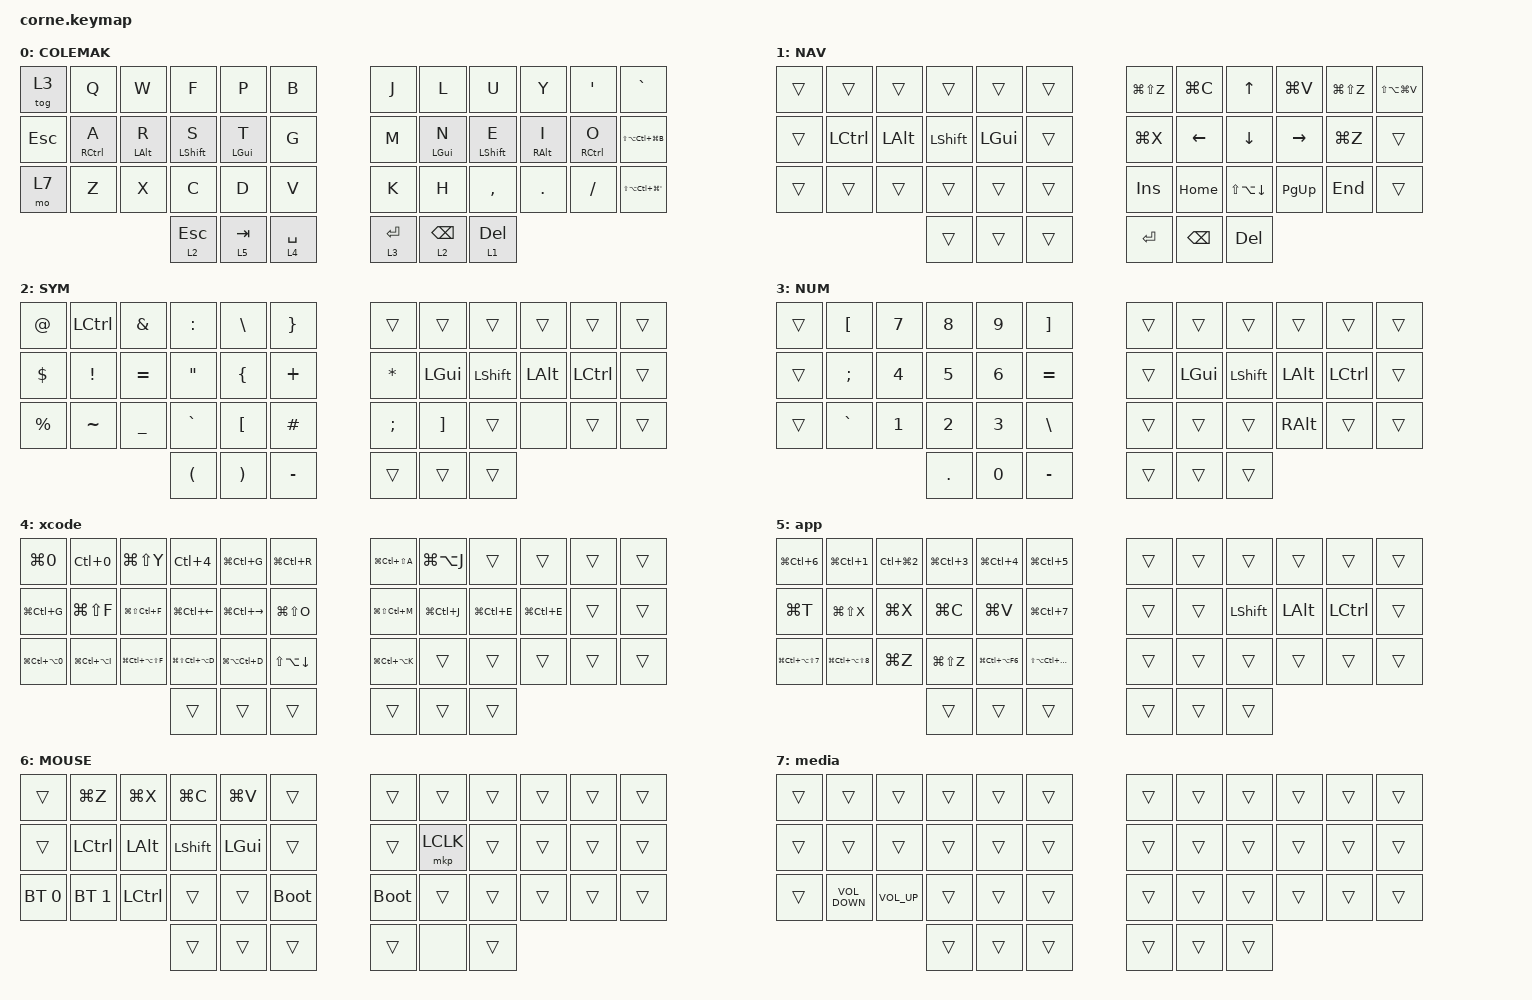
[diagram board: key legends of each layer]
/*
 * Copyright (c) 2020 The ZMK Contributors
 *
 * SPDX-License-Identifier: MIT
 */

#include <behaviors.dtsi>
#include <dt-bindings/zmk/bt.h>
#include <dt-bindings/zmk/keys.h>
#include <dt-bindings/zmk/mouse.h>

#define COLEMAK 0
#define NAV 1
#define SYM 2
#define MOUSE 3
#define NUM 4
#define QWERTY 5

&mt {
    tapping-term-ms = <200>;
    quick_tap_ms = <0>;
    flavor = "tap-preferred";
};

&lt {
    tapping-term-ms = <200>;
    quick_tap_ms = <0>;
    flavor = "tap-preferred";
};

/ {
    combos {
        compatible = "zmk,combos";

        vac {
            bindings = <&kp BACKSPACE>;
            key-positions = <3 4>;
            layers = <0>;
        };

        enter {
            bindings = <&kp ENTER>;
            key-positions = <14 15 16>;
            layers = <0>;
        };

        mouse_layer {
            bindings = <&mo 6>;
            key-positions = <38 39>;
        };

        fullscreen {
            bindings = <&kp LG(LA(LC(LS(SPACE))))>;
            key-positions = <25 24>;
            layers = <5>;
        };

        switchapp {
            bindings = <&kp LG(GRAVE)>;
            key-positions = <15 16>;
            layers = <5>;
        };

        shift {
            bindings = <&kp LEFT_SHIFT>;
            key-positions = <37 40>;
            layers = <0>;
        };
    };

    keymap {
        compatible = "zmk,keymap";

        colemak_dh {
            label = "COLEMAK";

            // -----------------------------------------------------------------------------------------------------------------------------
            // |        |   Q    |   W    |     E     |     R     |     T     | # |     Y     |     U    |    I    |    O   |   P    |     |
            // | LAYERS | A/LGUI | S/LALT |  D/LCTRL  |  F/LSHFT  |     G     | # |     H     | J/LSHFT  | K/LCTRR | L/LALT | ;/LGUI |     |
            // |        |   Z    | X/RALT |     C     |     V     |     B     | # |     N     |     M    |    ,    | ./RALT |   /    |     |
            //                            | ESC/MEDIA | SPACE/NAV | TAB/MOUSE | # | ENTER/SYM | BSPC/NUM | DEL/FN  |

            bindings = <
&tog 3      &kp Q                &kp W       &kp F         &kp P       &kp B          &kp J        &kp L       &kp U         &kp Y       &kp SQT              &kp GRAVE
&kp ESCAPE  &mt RIGHT_CONTROL A  &mt LALT R  &mt LSHIFT S  &mt LGUI T  &kp G          &kp M        &mt LGUI N  &mt LSHIFT E  &mt RALT I  &mt RIGHT_CONTROL O  &kp LS(LA(LC(LG(B))))
&mo 7       &kp Z                &kp X       &kp C         &kp D       &kp V          &kp K        &kp H       &kp COMMA     &kp DOT     &kp FSLH             &kp LS(LA(LC(LG(SQT))))
                                             &lt 2 ESC     &lt 5 TAB   &lt 4 SPACE    &lt 3 ENTER  &lt 2 BSPC  &lt 1 DEL
            >;
        };

        navigation {
            label = "NAV";

            // -------------------------------------------------------------------------------------------
            // |     |      |      |       |       |     | # | REDO  | CUT  | COPY | PASTE | UNDO  |     |
            // |     | LGUI | LALT | LCTRL | LSHFT |     | # | CAPS  | LEFT | DOWN | UP    | RIGHT |     |
            // |     |      | RALT |       |       |     | # | INS   | HOME | PGDN | PGUP  | END   |     |
            //                     |       | HELD  |     | # | ENTER | BSPC | DEL  |

            bindings = <
&trans  &trans            &trans        &trans      &trans    &trans    &kp LG(LS(Z))  &kp LG(C)  &kp UP            &kp LG(V)  &kp LG(LS(Z))  &kp LS(LA(LG(V)))
&trans  &kp LEFT_CONTROL  &kp LEFT_ALT  &kp LSHIFT  &kp LGUI  &trans    &kp LG(X)      &kp LEFT   &kp DOWN          &kp RIGHT  &kp LG(Z)      &trans
&trans  &trans            &trans        &trans      &trans    &trans    &kp INS        &kp HOME   &kp LS(LA(DOWN))  &kp PG_UP  &kp END        &trans
                                        &trans      &trans    &trans    &kp ENTER      &kp BSPC   &kp DEL
            >;
        };

        symbols {
            label = "SYM";

            // ------------------------------------------------------------------------------------
            // |     |  {  |  &  |  *  |  (  |  }  | # |      |       |       |      |      |     |
            // |     |  :  |  $  |  %  |  ^  |  +  | # |      | LSHFT | LCTRL | LALT | LGUI |     |
            // |     |  ~  |  !  |  @  |  #  |  |  | # |      |       |       | RALT |      |     |
            //                   |  (  |  )  |  _  | # | HELD |       |       |

            bindings = <
&kp AT_SIGN  &kp LCTRL        &kp AMPS        &kp COLON          &kp BACKSLASH     &kp RBRC     &trans         &trans             &trans      &trans        &trans            &trans
&kp DOLLAR   &kp EXCLAMATION  &kp EQUAL       &kp DOUBLE_QUOTES  &kp LEFT_BRACE    &kp PLUS     &kp ASTERISK   &kp LGUI           &kp LSHIFT  &kp LEFT_ALT  &kp LEFT_CONTROL  &trans
&kp PERCENT  &kp TILDE        &kp UNDERSCORE  &kp GRAVE          &kp LEFT_BRACKET  &kp HASH     &kp SEMICOLON  &kp RIGHT_BRACKET  &trans      &none         &trans            &trans
                                              &kp LPAR           &kp RPAR          &kp MINUS    &trans         &trans             &trans
            >;
        };

        numbers {
            label = "NUM";

            // -----------------------------------------------------------------------------------
            // |     |  [  |  7  |  8  |  9  |  ]  | # |     |       |       |      |      |     |
            // |     |  ;  |  4  |  5  |  6  |  =  | # |     | LSHFT | LCTRL | LALT | LGUI |     |
            // |     |  `  |  1  |  2  |  3  |  \  | # |     |       |       | RALT |      |     |
            //                   |  .  |  0  |  -  | # |     | HELD  |       |

            bindings = <
&trans  &kp LBKT       &kp N7  &kp N8   &kp N9  &kp RBKT     &trans  &trans    &trans     &trans        &trans            &trans
&trans  &kp SEMICOLON  &kp N4  &kp N5   &kp N6  &kp EQUAL    &trans  &kp LGUI  &kp LSHFT  &kp LEFT_ALT  &kp LEFT_CONTROL  &trans
&trans  &kp GRAVE      &kp N1  &kp N2   &kp N3  &kp BSLH     &trans  &trans    &trans     &kp RALT      &trans            &trans
                               &kp DOT  &kp N0  &kp MINUS    &trans  &trans    &trans
            >;
        };

        xcode {
            label = "xcode";
            bindings = <
&kp LG(N0)          &kp LC(N0)         &kp LG(LS(Y))          &kp LC(NUMBER_4)       &kp LG(LC(G))      &kp LG(LC(R))       &kp LG(LC(LS(A)))  &kp LG(LA(J))  &trans         &trans         &trans  &trans
&kp LG(LC(G))       &kp LG(LS(F))      &kp LG(LS(LC(F)))      &kp LG(LC(LEFT))       &kp LG(LC(RIGHT))  &kp LG(LS(O))       &kp LG(LS(LC(M)))  &kp LG(LC(J))  &kp LG(LC(E))  &kp LG(LC(E))  &trans  &trans
&kp LG(LC(LA(N0)))  &kp LG(LC(LA(I)))  &kp LG(LC(LA(LS(F))))  &kp LG(LS(LC(LA(D))))  &kp LG(LA(LC(D)))  &kp LS(LA(DOWN))    &kp LG(LC(LA(K)))  &trans         &trans         &trans         &trans  &trans
                                                              &trans                 &trans             &trans              &trans             &trans         &trans
            >;
        };

        app {
            bindings = <
&kp LG(LC(NUMBER_6))          &kp LG(LC(NUMBER_1))    &kp LC(LG(NUMBER_2))  &kp LG(LC(NUMBER_3))  &kp LG(LC(NUMBER_4))  &kp LG(LC(N5))            &trans  &trans  &trans          &trans    &trans            &trans
&kp LG(T)                     &kp LG(LS(X))           &kp LG(X)             &kp LG(C)             &kp LG(V)             &kp LG(LC(N7))            &trans  &trans  &kp LEFT_SHIFT  &kp LALT  &kp LEFT_CONTROL  &trans
&kp LG(LC(LA(LS(NUMBER_7))))  &kp LG(LC(LA(LS(N8))))  &kp LG(Z)             &kp LG(LS(Z))         &kp LG(LC(LA(F6)))    &kp LS(LA(LC(LG(F6))))    &trans  &trans  &trans          &trans    &trans            &trans
                                                                            &trans                &trans                &trans                    &trans  &trans  &trans
            >;

            label = "app";
        };

        mouse {
            label = "MOUSE";

            // ------------------------------------------------------------------------------------
            // |     |      |      |       |       |      | # |     |     |     |     |     |     |
            // |     | LGUI | LALT | LCTRL | LSHFT |      | # |     |     |     |     |     |     |
            // |     |      | RALT |       |       |      | # |     |     |     |     |     |     |
            //                     |       |       | HELD | # |     |     |     |

            bindings = <
&trans        &kp LG(Z)         &kp LG(X)     &kp LG(C)  &kp LG(V)  &trans         &trans       &trans     &trans  &trans  &trans  &trans
&trans        &kp LEFT_CONTROL  &kp LEFT_ALT  &kp LSHFT  &kp LGUI   &trans         &trans       &mkp LCLK  &trans  &trans  &trans  &trans
&bt BT_SEL 0  &bt BT_SEL 1      &kp LCTRL     &trans     &trans     &bootloader    &bootloader  &trans     &trans  &trans  &trans  &trans
                                              &trans     &trans     &trans         &trans       &none      &trans
            >;
        };

        media {
            bindings = <
&trans  &trans             &trans        &trans  &trans  &trans    &trans  &trans  &trans  &trans  &trans  &trans
&trans  &trans             &trans        &trans  &trans  &trans    &trans  &trans  &trans  &trans  &trans  &trans
&trans  &kp C_VOLUME_DOWN  &kp C_VOL_UP  &trans  &trans  &trans    &trans  &trans  &trans  &trans  &trans  &trans
                                         &trans  &trans  &trans    &trans  &trans  &trans
            >;

            label = "media";
        };
    };

    conditional_layers { compatible = "zmk,conditional-layers"; };
};
